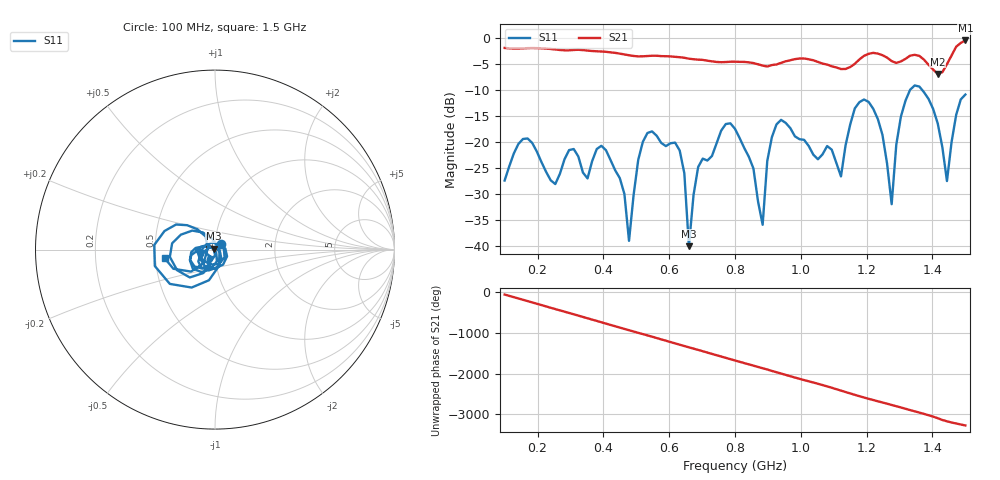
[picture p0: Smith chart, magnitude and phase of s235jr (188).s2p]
! NanoVNA-App
! Date: 2025-09-25 15:05:37
! Start: 100MHz Stop: 1,5GHz Points: 101
! S-Parameter data: F S11 S21 S12 S22
# Hz S RI R 50
!  Frequency  S11_Real  S11_Imag  S21_Real  S21_Imag  S12_Real  S12_Imag  S22_Real  S22_Imag
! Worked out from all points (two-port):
!   101 points, 100 MHz to 1.5 GHz, reference 50 ohm
!   highest |S21| = -0.52 dB at 1.5 GHz (marker M1); lowest = -7.0 dB at 1.416 GHz (marker M2)
!   |S21| within 3 dB of the highest: start of sweep to 494.6 MHz; 1.191 GHz to 1.253 GHz (61.78 MHz wide, 5.05 % of centre) (the widest 2 of 5)
!   lowest |S11| = -40.1 dB at 660 MHz (marker M3), VSWR 1.02, Z = 49.2 + j0.551 ohm
!   |S11| at or under -10 dB: start of sweep to 1.332 GHz; 1.368 GHz to end of sweep
!   S12 and S22 are empty: the file has one direction only
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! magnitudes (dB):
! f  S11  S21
! 100 MHz  -27.5  -2.0
! 156 MHz  -19.5  -2.0
! 338 MHz  -25.9  -2.4
! 408 MHz  -21.6  -2.7
! 478 MHz  -39.1  -3.4
! 520 MHz  -20.0  -3.6
! 576 MHz  -20.2  -3.5
! 632 MHz  -21.7  -3.7
! 660 MHz  -40.1  -4.0
! 688 MHz  -24.9  -4.2
! 800 MHz  -17.5  -4.6
! 884 MHz  -36.0  -5.4
! 926 MHz  -16.7  -5.1
! 1.038 GHz  -22.5  -4.3
! 1.122 GHz  -26.7  -6.0
! 1.206 GHz  -12.3  -3.1
! 1.276 GHz  -32.0  -4.5
! 1.29 GHz  -20.6  -4.8
! 1.332 GHz  -10.0  -3.5
! 1.416 GHz  -16.5  -7.0
! 1.444 GHz  -27.6  -5.1
! 1.5 GHz  -10.9  -0.5
